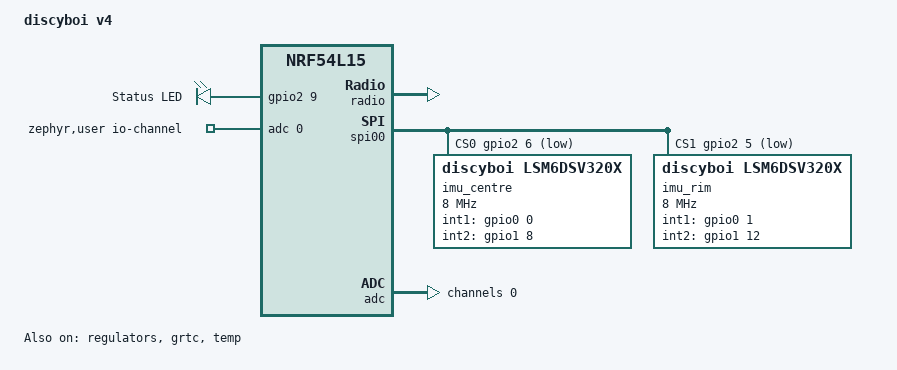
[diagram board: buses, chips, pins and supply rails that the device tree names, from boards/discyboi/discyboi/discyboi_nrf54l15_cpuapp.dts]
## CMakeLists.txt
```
cmake_minimum_required(VERSION 3.20.0)

# Board definition lives in this app (boards/discyboi).
list(APPEND BOARD_ROOT ${CMAKE_CURRENT_SOURCE_DIR})
list(APPEND DTS_ROOT ${CMAKE_CURRENT_SOURCE_DIR})

find_package(Zephyr REQUIRED HINTS $ENV{ZEPHYR_BASE})
project(discyboi)

target_sources(app PRIVATE
  src/main.c
  src/imu.c
  src/capture.c
  src/analysis.c
  src/calib.c
  src/ble.c
  src/battery.c
  src/led.c
)
```

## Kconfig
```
# discyboi application options

menu "discyboi"

choice DISCY_BATTERY
	prompt "Battery type (for the battery-level curve)"
	default DISCY_BATTERY_AUTO

config DISCY_BATTERY_AUTO
	bool "Detect: LiPo once VBAT has been above 3.45 V, otherwise coin cell"
	help
	  A CR2032 never reads above ~3.3 V, a LiPo above 3.45 V holds
	  almost all of its charge. The board switches to the LiPo curve
	  the first time VBAT is seen above the threshold and stays there.
	  A LiPo connected nearly flat reads as a coin cell until it has
	  been charged.

config DISCY_BATTERY_COIN
	bool "CR2032 / LIR2032 coin cell"

config DISCY_BATTERY_LIPO
	bool "1S LiPo"

endchoice

endmenu

source "Kconfig.zephyr"
```

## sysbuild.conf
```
# MCUboot in front of the app so new firmware can be sent over Bluetooth (mcumgr / SMP).
# The signing key is passed by build.sh (keys/discyboi-ec-p256.pem, not in git).
SB_CONFIG_BOOTLOADER_MCUBOOT=y
SB_CONFIG_BOOT_SIGNATURE_TYPE_ECDSA_P256=y
```

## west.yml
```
# West manifest: upstream Zephyr with only the modules this board needs.
manifest:
  remotes:
    - name: zephyrproject-rtos
      url-base: https://github.com/zephyrproject-rtos
  projects:
    - name: zephyr
      remote: zephyrproject-rtos
      revision: v4.0.0
      import:
        name-allowlist:
          - cmsis
          - hal_nordic
          - mcuboot
          - mbedtls
          - segger
          - tinycrypt
          - zcbor
  self:
    path: app
```

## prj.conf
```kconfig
CONFIG_SPI=y
CONFIG_ADC=y
CONFIG_FPU=y

CONFIG_LOG=y
CONFIG_LOG_BACKEND_RTT=y
CONFIG_CBPRINTF_FP_SUPPORT=y

CONFIG_MAIN_STACK_SIZE=2048
CONFIG_SYSTEM_WORKQUEUE_STACK_SIZE=2048

# Bluetooth peripheral
CONFIG_BT=y
CONFIG_BT_PERIPHERAL=y
CONFIG_BT_DEVICE_NAME="discyboi"
CONFIG_BT_DEVICE_APPEARANCE=0
CONFIG_BT_BAS=y
CONFIG_BT_MAX_CONN=1

# Large MTU + data length extension + 2M PHY for raw-capture download
CONFIG_BT_L2CAP_TX_MTU=247
CONFIG_BT_BUF_ACL_TX_SIZE=251
CONFIG_BT_BUF_ACL_RX_SIZE=251
CONFIG_BT_BUF_ACL_TX_COUNT=10
CONFIG_BT_CTLR_DATA_LENGTH_MAX=251
CONFIG_BT_USER_DATA_LEN_UPDATE=y
CONFIG_BT_USER_PHY_UPDATE=y
CONFIG_BT_GAP_AUTO_UPDATE_CONN_PARAMS=y
CONFIG_BT_PERIPHERAL_PREF_MIN_INT=12
CONFIG_BT_PERIPHERAL_PREF_MAX_INT=24

# Firmware updates over Bluetooth: MCUboot + mcumgr SMP service. Use nRF Connect Device
# Manager (phone) or `mcumgr` (PC). New images run once as a test; main() confirms them
# after a good boot, otherwise MCUboot rolls back on the next reset.
CONFIG_FLASH=y
CONFIG_FLASH_MAP=y
CONFIG_STREAM_FLASH=y
CONFIG_IMG_MANAGER=y
CONFIG_MCUBOOT_IMG_MANAGER=y
CONFIG_NET_BUF=y
CONFIG_ZCBOR=y
CONFIG_MCUMGR=y
CONFIG_MCUMGR_GRP_IMG=y
CONFIG_MCUMGR_GRP_OS=y
CONFIG_MCUMGR_TRANSPORT_BT=y
CONFIG_MCUMGR_TRANSPORT_BT_REASSEMBLY=y
CONFIG_MCUMGR_TRANSPORT_NETBUF_SIZE=2475
CONFIG_MCUMGR_TRANSPORT_WORKQUEUE_STACK_SIZE=4096

# Per-board calibration (gyro cross-axis coupling learned from throws) in the storage partition
CONFIG_FLASH_PAGE_LAYOUT=y
CONFIG_ZMS=y
CONFIG_HWINFO=y
```

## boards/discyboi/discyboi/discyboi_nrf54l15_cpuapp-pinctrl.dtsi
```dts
&pinctrl {
	/* SPIM00 must use its dedicated port-2 pins. */
	spi00_default: spi00_default {
		group1 {
			psels = <NRF_PSEL(SPIM_SCK, 2, 1)>,    /* C6 */
				<NRF_PSEL(SPIM_MOSI, 2, 2)>,   /* D6 */
				<NRF_PSEL(SPIM_MISO, 2, 4)>;   /* F5 */
		};
	};

	spi00_sleep: spi00_sleep {
		group1 {
			psels = <NRF_PSEL(SPIM_SCK, 2, 1)>,
				<NRF_PSEL(SPIM_MOSI, 2, 2)>,
				<NRF_PSEL(SPIM_MISO, 2, 4)>;
			low-power-enable;
		};
	};
};
```

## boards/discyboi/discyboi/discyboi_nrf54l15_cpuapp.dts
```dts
/*
 * discyboi v4: Fanstel BC15M (nRF54L15) + 2x LSM6DSV320X on SPIM00.
 * Pin assignments follow hardware v4 gen/design.py (see ../../../../../v4/README.md).
 */
/dts-v1/;

#include <nordic/nrf54l15_cpuapp.dtsi>
#include <zephyr/dt-bindings/adc/nrf-saadc.h>
#include "discyboi_nrf54l15_cpuapp-pinctrl.dtsi"

/ {
	model = "discyboi v4";
	compatible = "discyboi,discyboi-nrf54l15-cpuapp";

	chosen {
		zephyr,code-partition = &slot0_partition;
		zephyr,sram = &cpuapp_sram;
		zephyr,flash-controller = &rram_controller;
		zephyr,flash = &cpuapp_rram;
	};

	leds {
		compatible = "gpio-leds";
		led_green: led_0 {
			gpios = <&gpio2 9 GPIO_ACTIVE_HIGH>;  /* A5 / P2.09 -> R5 -> D1 */
			label = "Status LED";
		};
	};

	aliases {
		led0 = &led_green;
	};

	zephyr,user {
		/* VBAT through a 10M/10M divider (+100 nF) -> P1.06 / AIN2 */
		io-channels = <&adc 0>;
	};
};

&cpuapp_sram {
	status = "okay";
};

/* TODO(bring-up): check whether the BC15M fits the DC/DC inductor. Without it the
 * main regulator must stay in LDO mode (the default here). */
&regulators {
	status = "okay";
};

&grtc {
	owned-channels = <0 1 2 3 4 5 6 7 8 9 10 11>;
	child-owned-channels = <3 4 7 8 9 10 11>;
	status = "okay";
};

&cpuapp_rram {
	partitions {
		compatible = "fixed-partitions";
		#address-cells = <1>;
		#size-cells = <1>;
		/* Same layout as the nRF54L15 DK, leaving room for MCUboot + BLE DFU later. */
		boot_partition: partition@0 {
			label = "mcuboot";
			reg = <0x0 DT_SIZE_K(64)>;
		};
		slot0_partition: partition@10000 {
			label = "image-0";
			reg = <0x10000 DT_SIZE_K(648)>;
		};
		slot1_partition: partition@b2000 {
			label = "image-1";
			reg = <0xb2000 DT_SIZE_K(648)>;
		};
		storage_partition: partition@154000 {
			label = "storage";
			reg = <0x154000 DT_SIZE_K(68)>;
		};
	};
};

&gpio0 { status = "okay"; };
&gpio1 { status = "okay"; };
&gpio2 { status = "okay"; };
&gpiote20 { status = "okay"; };   /* P1 interrupts */
&gpiote30 { status = "okay"; };   /* P0 interrupts */
&radio { status = "okay"; };
&temp { status = "okay"; };
&clock { status = "okay"; };

&spi00 {
	status = "okay";
	pinctrl-0 = <&spi00_default>;
	pinctrl-1 = <&spi00_sleep>;
	pinctrl-names = "default", "sleep";
	cs-gpios = <&gpio2 6 GPIO_ACTIVE_LOW>,   /* F2 / P2.06 IMU_CS (U5, centre) */
		   <&gpio2 5 GPIO_ACTIVE_LOW>;   /* A6 / P2.05 ACC_CS (U3, r = 9 mm) */

	imu_centre: imu@0 {
		compatible = "discyboi,lsm6dsv320x";
		reg = <0>;
		spi-max-frequency = <8000000>;
		int1-gpios = <&gpio0 0 GPIO_ACTIVE_HIGH>;   /* A2 / P0.00 */
		int2-gpios = <&gpio1 8 GPIO_ACTIVE_HIGH>;   /* B1 / P1.08 */
		radius-um = <0>;
	};

	imu_rim: imu@1 {
		compatible = "discyboi,lsm6dsv320x";
		reg = <1>;
		spi-max-frequency = <8000000>;
		int1-gpios = <&gpio0 1 GPIO_ACTIVE_HIGH>;   /* A1 / P0.01 */
		int2-gpios = <&gpio1 12 GPIO_ACTIVE_HIGH>;  /* D1 / P1.12 */
		radius-um = <9000>;
	};
};

&adc {
	status = "okay";
	#address-cells = <1>;
	#size-cells = <0>;

	channel@0 {
		reg = <0>;
		zephyr,gain = "ADC_GAIN_1_4";
		zephyr,reference = "ADC_REF_INTERNAL";
		zephyr,acquisition-time = <ADC_ACQ_TIME(ADC_ACQ_TIME_MICROSECONDS, 40)>;
		zephyr,input-positive = <NRF_SAADC_AIN2>;  /* P1.06 */
		zephyr,resolution = <12>;
		zephyr,oversampling = <4>;
	};
};
```

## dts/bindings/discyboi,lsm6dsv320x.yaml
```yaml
description: |
  ST LSM6DSV320X 6-axis IMU with high-g accelerometer, driven directly by the
  discyboi application (not a Zephyr sensor driver).

compatible: "discyboi,lsm6dsv320x"

include: spi-device.yaml

properties:
  int1-gpios:
    type: phandle-array
    required: true
  int2-gpios:
    type: phandle-array
  radius-um:
    type: int
    required: true
    description: Distance from the disc's spin axis in micrometres.
```

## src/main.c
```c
#include <zephyr/kernel.h>
#include <zephyr/logging/log.h>
#include <zephyr/dfu/mcuboot.h>

#include "discy.h"

LOG_MODULE_REGISTER(main, LOG_LEVEL_INF);

int main(void)
{
	int err;

	LOG_INF("discyboi firmware %s", discy_fw_version);
	if ((err = led_init())) {
		LOG_ERR("LED init failed (%d)", err);
	}
	if ((err = battery_init())) {
		LOG_ERR("battery init failed (%d)", err);
	}
	if ((err = ble_init())) {
		LOG_ERR("Bluetooth init failed (%d)", err);
	}
	err = capture_start();
	/* 3 blinks: all good. 10 fast blinks: an IMU did not respond (see RTT log). */
	led_blink(err ? 10 : 3);

	/* A Bluetooth update boots once as a test. Keep it only if both IMUs came up; otherwise
	 * the next reset (or flat battery) brings back the previous firmware. */
	if (!boot_is_img_confirmed()) {
		if (err) {
			LOG_WRN("new firmware failed its first boot check: not confirming");
		} else if (boot_write_img_confirmed()) {
			LOG_ERR("could not confirm new firmware");
		} else {
			LOG_INF("new firmware confirmed");
		}
	}
	return 0;
}
```

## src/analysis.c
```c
/*
 * Throw analysis on a frozen capture. Preliminary and deliberately simple:
 *
 * 1. Find the calm stretch before the pull: from the first to the last 100 ms window with
 *    |a| ~ 1 g and little rotation. The accelerometer averaged over it, with the gyro tracking
 *    the rotation, defines "up" (see find_ref). If nothing is calm, the calmest 100 ms is used
 *    and the result is flagged as approximate.
 * 2. Integrate the gyro to release to track orientation (when the gyro saturates on z, the
 *    spin rate comes from the rim/centre centripetal difference instead).
 * 3. From the end of the calm stretch, rotate the centre accelerometer into the world frame,
 *    remove gravity and integrate to get the release velocity.
 * 4. At release: disc normal + velocity -> hyzer, nose and launch angles.
 *
 * Heading about the vertical axis is unknown (no magnetometer) but is not needed: all angles
 * are relative to the velocity direction. Integration drift over the ~1-2 s window is the main
 * error source; raw captures can be downloaded to refine this offline.
 */
#include <math.h>
#include <stdlib.h>
#include <string.h>
#include <zephyr/logging/log.h>

#include "discy.h"

LOG_MODULE_REGISTER(analysis, LOG_LEVEL_INF);

#define G0           9.80665f
#define DEG          (180.0f / 3.14159265f)
#define DT           (1.0f / IMU_ACTIVE_HZ)
#define STILL_N      (IMU_ACTIVE_HZ / 10)  /* 100 ms */
#define STILL_MAX_DPS 40.0f
#define SPIN_AVG_N   (IMU_ACTIVE_HZ / 50)  /* 20 ms after release */

struct quat {
	float w, x, y, z;
};

static struct quat qmul(struct quat a, struct quat b)
{
	return (struct quat){
		a.w * b.w - a.x * b.x - a.y * b.y - a.z * b.z,
		a.w * b.x + a.x * b.w + a.y * b.z - a.z * b.y,
		a.w * b.y - a.x * b.z + a.y * b.w + a.z * b.x,
		a.w * b.z + a.x * b.y - a.y * b.x + a.z * b.w,
	};
}

static void qnorm(struct quat *q)
{
	float n = sqrtf(q->w * q->w + q->x * q->x + q->y * q->y + q->z * q->z);

	q->w /= n; q->x /= n; q->y /= n; q->z /= n;
}

/* Rotate v from the sensor frame to the world frame: q v q* */
static void qrot(struct quat q, const float v[3], float out[3])
{
	struct quat p = {0, v[0], v[1], v[2]};
	struct quat c = {q.w, -q.x, -q.y, -q.z};
	struct quat r = qmul(qmul(q, p), c);

	out[0] = r.x; out[1] = r.y; out[2] = r.z;
}

/* Rotation taking unit vector a onto +z. */
static struct quat q_align_to_z(const float a[3])
{
	/* axis = a x z, angle = acos(a . z) */
	float ax = a[1], ay = -a[0];
	float c = a[2];
	float s = sqrtf(ax * ax + ay * ay);

	if (s < 1e-6f) {
		return c > 0 ? (struct quat){1, 0, 0, 0} : (struct quat){0, 1, 0, 0};
	}
	float ang = atan2f(s, c);
	float h = sinf(ang / 2) / s;

	return (struct quat){cosf(ang / 2), ax * h, ay * h, 0};
}

static float dot3(const float a[3], const float b[3])
{
	return a[0] * b[0] + a[1] * b[1] + a[2] * b[2];
}

void sample_centre_acc_g(const struct sample *s, float out[3])
{
	bool clip = false;

	for (int i = 0; i < 3; i++) {
		clip |= abs(s->acc[i]) > IMU_ACC_CLIP_LSB;
	}
	for (int i = 0; i < 3; i++) {
		out[i] = clip ? s->hg[i] * IMU_HG_G_PER_LSB : s->acc[i] * IMU_ACC_G_PER_LSB;
	}
}

static void rim_acc_g(const struct sample *s, float out[3])
{
	bool clip = false;

	for (int i = 0; i < 3; i++) {
		clip |= abs(s->r_acc[i]) > IMU_ACC_CLIP_LSB;
	}
	for (int i = 0; i < 3; i++) {
		out[i] = clip ? s->r_hg[i] * IMU_HG_G_PER_LSB : s->r_acc[i] * IMU_ACC_G_PER_LSB;
	}
}

float sample_spin_dps(const struct sample *s, float rim_radius_m, bool *centrip)
{
	float gz = s->gyro[2] * IMU_GYRO_DPS_PER_LSB;

	if (centrip) {
		*centrip = false;
	}
	if (fabsf(gz) < 3900.0f || rim_radius_m <= 0.0f) {
		return gz;
	}
	/* Gyro saturated (>= ~650 rpm). The rim IMU sees centripetal a = w^2 r towards the centre,
	 * on top of whatever the centre IMU sees, so the in-plane difference gives |w|. */
	float c[3], r[3];

	sample_centre_acc_g(s, c);
	rim_acc_g(s, r);
	float d = hypotf(r[0] - c[0], r[1] - c[1]) * 9.80665f;
	float w = sqrtf(d / rim_radius_m) * (180.0f / 3.14159265f);

	if (centrip) {
		*centrip = true;
	}
	return copysignf(w, gz);
}

/* Reference for "up" and for zero velocity, taken before the pull.
 *
 * A single short window is a poor gravity reference unless the disc is truly at rest: the hand
 * is accelerating, and 0.1 g sideways is already 6 degrees. So the reference is the whole span
 * from the first calm window to the last: with the gyro tracking the rotation, the specific
 * force averaged over a span of T seconds is 1 g up plus (change in velocity) / T, and the
 * hand's velocity changes little between two calm moments. Whatever happens in between (a
 * step, a wind-up) cancels out. Recorded throws put this within a few degrees, where single
 * windows 50 ms apart disagreed by 10-20 degrees.
 *
 * If nothing is that calm, the calmest 100 ms is the whole span and the result is flagged as
 * approximate. */
#define CALM_MAX_DG       0.15f   /* window mean |a| within this of 1 g */
#define CALM_MAX_RMS_DPS  100.0f
#define ROUGH_MAX_DG      0.25f   /* fallback */
#define ROUGH_MAX_RMS_DPS 300.0f
#define SPAN_MIN_N        (IMU_ACTIVE_HZ / 2)  /* shorter than this needs a truly still window */
#define SPAN_MAX_DG       0.06f                /* span mean must come out this close to 1 g */

struct ref_span {
	int from, to;   /* samples [from, to) */
	bool still;     /* contains a window with next to no rotation */
	bool rough;     /* fallback: one window that is merely the calmest */
};

static bool find_ref(const struct capture_view *cap, struct ref_span *ref)
{
	int first = -1, last = -1, rough = -1;
	float rough_score = 1e9f;

	ref->still = false;
	for (int start = 0; start + STILL_N <= cap->pull_idx; start += STILL_N / 4) {
		float sum_g = 0, sum_g2 = 0, max_dps = 0, sum_w2 = 0;

		for (int i = start; i < start + STILL_N; i++) {
			const struct sample *s = capture_get(i);
			float a[3];

			sample_centre_acc_g(s, a);
			float g = sqrtf(dot3(a, a));

			for (int k = 0; k < 3; k++) {
				float w = s->gyro[k] * IMU_GYRO_DPS_PER_LSB;

				max_dps = MAX(max_dps, fabsf(w));
				sum_w2 += w * w;
			}
			sum_g += g;
			sum_g2 += g * g;
		}
		float mean_g = sum_g / STILL_N;
		float dg = fabsf(mean_g - 1.0f);
		float var = sum_g2 / STILL_N - mean_g * mean_g;
		float rms_dps = sqrtf(sum_w2 / STILL_N);

		if (dg < CALM_MAX_DG && rms_dps < CALM_MAX_RMS_DPS) {
			if (first < 0) {
				first = start;
			}
			last = start;
			ref->still |= max_dps < STILL_MAX_DPS;
		}
		/* Fallback candidate: steady, close to 1 g, little rotation, and late (less drift). */
		float late = (float)(cap->pull_idx - start) / IMU_ACTIVE_HZ * 0.001f;
		float score = var + dg * 0.5f + rms_dps * 0.001f + late;

		if (dg < ROUGH_MAX_DG && rms_dps < ROUGH_MAX_RMS_DPS && score < rough_score) {
			rough_score = score;
			rough = start;
		}
	}
	ref->rough = first < 0;
	if (ref->rough) {
		first = last = rough;
	}
	if (first < 0) {
		return false;
	}
	ref->from = first;
	ref->to = last + STILL_N;
	return true;
}

/* q <- q * exp(w dt / 2), w in rad/s in the sensor frame */
static void q_step(struct quat *q, const float w[3])
{
	float th = sqrtf(dot3(w, w)) * DT;

	if (th > 1e-9f) {
		float h = sinf(th / 2) / (th / DT);
		struct quat dq = {cosf(th / 2), w[0] * h, w[1] * h, w[2] * h};

		*q = qmul(*q, dq);
		qnorm(q);
	}
}

/* Body rates in dps with the gyro's cross-axis coupling removed: the x and y axes pick up a
 * fixed fraction (~1 % on the first board) of the spin rate, which otherwise reads as a ~1 deg
 * tilt that turns with the disc: fake wobble, and hyzer / nose off by up to that much. */
static void sample_rates_dps(const struct capture_view *cap, const struct sample *s, float w[3])
{
	w[2] = sample_spin_dps(s, cap->rim_radius_m, NULL);
	w[0] = s->gyro[0] * IMU_GYRO_DPS_PER_LSB - cap->gyro_xz[0] * w[2];
	w[1] = s->gyro[1] * IMU_GYRO_DPS_PER_LSB - cap->gyro_xz[1] * w[2];
}

static void sample_rate_rad(const struct capture_view *cap, const struct sample *s, float w[3])
{
	sample_rates_dps(cap, s, w);
	for (int k = 0; k < 3; k++) {
		w[k] /= DEG;
	}
}

/* Solve the 4x4 system m x = y in place (Gaussian elimination, partial pivoting). */
static bool solve4(float m[4][4], float y[4], float x[4])
{
	for (int c = 0; c < 4; c++) {
		int p = c;

		for (int r = c + 1; r < 4; r++) {
			if (fabsf(m[r][c]) > fabsf(m[p][c])) {
				p = r;
			}
		}
		if (fabsf(m[p][c]) < 1e-9f) {
			return false;
		}
		for (int k = 0; k < 4; k++) {
			float t = m[c][k];

			m[c][k] = m[p][k];
			m[p][k] = t;
		}
		float t = y[c];

		y[c] = y[p];
		y[p] = t;
		for (int r = c + 1; r < 4; r++) {
			float f = m[r][c] / m[c][c];

			for (int k = c; k < 4; k++) {
				m[r][k] -= f * m[c][k];
			}
			y[r] -= f * y[c];
		}
	}
	for (int c = 3; c >= 0; c--) {
		float acc = y[c];

		for (int k = c + 1; k < 4; k++) {
			acc -= m[c][k] * x[k];
		}
		x[c] = acc / m[c][c];
	}
	return true;
}

#define XZ_IMPACT_G   6.0f   /* the free spin ends at the first hit (net, ground) */
#define XZ_MIN_TURNS  0.9f
#define XZ_MAX        0.05f  /* 3 deg: anything bigger is not a gyro property */

bool analysis_gyro_xz(const struct capture_view *cap, float k[2])
{
	/* After release the disc spins freely: in the board frame the gyro's x, y read
	 *   g_xy = k * w_z  (coupling: fixed in the board frame)
	 *        + R(-phi) m (nutation, precession: fixed in the world, so they turn with the spin)
	 * Fit k and m by least squares, with phi the spin angle. Real mount tilt looks like k too,
	 * but on the first board it is a few tenths of a degree, and removing it makes the tracked
	 * z follow the spin axis, which is the disc normal we want anyway. */
	float m[4][4] = {0}, y[4] = {0}, x[4];
	float phi = 0;
	int end = cap->len;

	for (int i = cap->release_idx + SPIN_AVG_N; i < cap->len; i++) {
		float a[3];

		sample_centre_acc_g(capture_get(i), a);
		if (dot3(a, a) > XZ_IMPACT_G * XZ_IMPACT_G) {
			end = i - IMU_ACTIVE_HZ / 200; /* back off 5 ms */
			break;
		}
	}
	for (int i = cap->release_idx + SPIN_AVG_N; i < end; i++) {
		const struct sample *s = capture_get(i);
		float wz = sample_spin_dps(s, cap->rim_radius_m, NULL) / DEG;
		float gx = s->gyro[0] * IMU_GYRO_DPS_PER_LSB / DEG, gy = s->gyro[1] * IMU_GYRO_DPS_PER_LSB / DEG;

		phi += wz * DT;
		float c = cosf(phi), sn = sinf(phi);
		/* rows: gx = wz kx + c mx + s my ;  gy = wz ky - s mx + c my */
		const float rx[4] = {wz, 0, c, sn}, ry[4] = {0, wz, -sn, c};

		for (int r = 0; r < 4; r++) {
			for (int q = 0; q < 4; q++) {
				m[r][q] += rx[r] * rx[q] + ry[r] * ry[q];
			}
			y[r] += rx[r] * gx + ry[r] * gy;
		}
	}
	if (fabsf(phi) < XZ_MIN_TURNS * 2 * 3.14159265f || !solve4(m, y, x)) {
		return false;
	}
	if (fabsf(x[0]) > XZ_MAX || fabsf(x[1]) > XZ_MAX) {
		return false;
	}
	k[0] = x[0];
	k[1] = x[1];
	return true;
}

#define XZ_LEARN_N    16      /* plain mean up to here, then a moving average over ~this many */
#define XZ_LEARN_GATE 0.02f   /* once settled, ignore throws more than ~1.1 deg off */

void xz_learn_add(struct xz_learn *l, const float k[2])
{
	if (l->n >= XZ_LEARN_MIN && hypotf(k[0] - l->k[0], k[1] - l->k[1]) > XZ_LEARN_GATE) {
		return;
	}
	if (l->n < XZ_LEARN_N) {
		l->n++;
	}
	for (int i = 0; i < 2; i++) {
		l->k[i] += (k[i] - l->k[i]) / l->n;
	}
}

bool xz_learn_ready(const struct xz_learn *l)
{
	return l->n >= XZ_LEARN_MIN;
}

void analysis_run(const struct capture_view *cap, struct throw_result *out)
{
	/* Spin rate just after release. */
	float spin = 0;
	int n_spin = 0;
	bool centrip = false;

	for (int i = cap->release_idx; i < MIN(cap->len, cap->release_idx + SPIN_AVG_N); i++) {
		bool c;

		spin += sample_spin_dps(capture_get(i), cap->rim_radius_m, &c);
		centrip |= c;
		n_spin++;
	}
	if (n_spin) {
		out->spin_rpm = (int16_t)CLAMP(spin / n_spin / 6.0f, INT16_MIN, INT16_MAX);
	}
	if (centrip) {
		out->flags |= RESULT_SPIN_CENTRIP;
	}

	/* Wobble: RMS of the off-axis rotation rate after the release transient. */
	float w2 = 0;
	int n_w = 0;

	for (int i = cap->release_idx + SPIN_AVG_N; i < cap->len; i++) {
		float w[3];

		sample_rates_dps(cap, capture_get(i), w);
		w2 += w[0] * w[0] + w[1] * w[1];
		n_w++;
	}
	if (n_w) {
		out->wobble_dps = (uint16_t)sqrtf(w2 / n_w);
	}

	/* Orientation + velocity from the reference span. */
	struct ref_span ref;

	if (!find_ref(cap, &ref)) {
		LOG_WRN("nothing calm enough before the throw: no speed / angles");
		out->flags |= RESULT_NO_REF;
		return;
	}

	/* Track orientation through the span in the frame of its first sample, averaging the
	 * specific force there: the mean points up. */
	struct quat q = {1, 0, 0, 0};
	float sum[3] = {0};

	for (int i = ref.from; i < ref.to; i++) {
		const struct sample *s = capture_get(i);
		float a[3], aw[3], w[3];

		sample_centre_acc_g(s, a);
		qrot(q, a, aw);
		for (int k = 0; k < 3; k++) {
			sum[k] += aw[k];
		}
		sample_rate_rad(cap, s, w);
		q_step(&q, w);
	}
	float mag = sqrtf(dot3(sum, sum));
	float mean_g = mag / (ref.to - ref.from);
	float up_s[3] = {sum[0] / mag, sum[1] / mag, sum[2] / mag};

	if (ref.rough || (!ref.still && ref.to - ref.from < SPAN_MIN_N) ||
	    fabsf(mean_g - 1.0f) > SPAN_MAX_DG) {
		LOG_INF("weak reference before the throw (%d ms, mean %.2f g): approximate",
			(ref.to - ref.from) * 1000 / IMU_ACTIVE_HZ, (double)mean_g);
		out->flags |= RESULT_REF_APPROX;
	}
	/* Re-base so that world z is up, then carry on to the release. */
	q = qmul(q_align_to_z(up_s), q);

	float v[3] = {0};

	for (int i = ref.to; i < cap->release_idx; i++) {
		const struct sample *s = capture_get(i);
		float a[3], aw[3], w[3];

		/* velocity: specific force -> world, minus gravity */
		sample_centre_acc_g(s, a);
		qrot(q, a, aw);
		aw[2] -= 1.0f;
		for (int k = 0; k < 3; k++) {
			v[k] += aw[k] * G0 * DT;
		}
		sample_rate_rad(cap, s, w);
		q_step(&q, w);
	}

	float speed = sqrtf(dot3(v, v));
	float vh = hypotf(v[0], v[1]);

	if (speed > 60.0f || vh < 0.5f) {
		LOG_WRN("implausible release velocity %.1f m/s", (double)speed);
		out->flags |= RESULT_BAD_SPEED;
		return;
	}
	out->speed_cms = (uint16_t)(speed * 100.0f);
	out->flags |= RESULT_SPEED_VALID;

	const float up[3] = {0, 0, 1};
	const float z_s[3] = {0, 0, 1};
	float n[3];
	float f[3] = {v[0] / vh, v[1] / vh, 0};          /* forward, horizontal */
	float r[3] = {f[1], -f[0], 0};                   /* right = forward x up */

	qrot(q, z_s, n);                                 /* disc normal in the world frame */
	/* Board z may point down if the disc is mounted upside down: use the upward normal. */
	if (n[2] < 0) {
		for (int k = 0; k < 3; k++) {
			n[k] = -n[k];
		}
	}
	out->hyzer_cdeg = (int16_t)(atan2f(dot3(n, r), dot3(n, up)) * DEG * 100.0f);
	out->nose_cdeg = (int16_t)(atan2f(-dot3(n, f), dot3(n, up)) * DEG * 100.0f);
	out->launch_cdeg = (int16_t)(atan2f(v[2], vh) * DEG * 100.0f);
	out->flags |= RESULT_ANGLES_VALID;
}
```

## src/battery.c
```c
/* Battery voltage: VBAT -> 10M/10M divider (+100 nF) -> AIN2, sampled once a minute.
 * The 100 nF cap holds the divider node so the ADC's sampling charge comes from it. */
#include <zephyr/bluetooth/services/bas.h>
#include <zephyr/drivers/adc.h>
#include <zephyr/kernel.h>
#include <zephyr/logging/log.h>

#include "discy.h"

LOG_MODULE_REGISTER(battery, LOG_LEVEL_INF);

#define DIVIDER        2
#define PERIOD         K_SECONDS(60)

static const struct adc_dt_spec vbat = ADC_DT_SPEC_GET_BY_IDX(DT_PATH(zephyr_user), 0);
static uint16_t last_mv;

/* CR2032 (or LIR2032 under ~2 mA): the voltage sits on a 2.8-2.9 V plateau for most of the
 * capacity, then falls off. The electronics run down to ~1.8 V, so 2.0 V is "empty". */
static const struct curve_pt { uint16_t mv; uint8_t pct; } coin_curve[] = {
	{3000, 100}, {2900, 85}, {2800, 60}, {2700, 40}, {2600, 25},
	{2500, 15}, {2400, 8}, {2200, 3}, {2000, 0},
};

/* Rough 1S LiPo discharge curve at light load. */
static const struct curve_pt lipo_curve[] = {
	{4200, 100}, {4100, 90}, {4000, 80}, {3900, 65}, {3800, 50},
	{3750, 40}, {3700, 30}, {3650, 20}, {3600, 10}, {3500, 5}, {3300, 0},
};

/* A CR2032 never reads above ~3.3 V; a LiPo is above this for nearly all of its charge. */
#define LIPO_DETECT_MV 3450

static bool is_lipo = IS_ENABLED(CONFIG_DISCY_BATTERY_LIPO);

static uint8_t interp(const struct curve_pt *c, size_t n, uint16_t mv)
{
	if (mv >= c[0].mv) {
		return 100;
	}
	for (size_t i = 1; i < n; i++) {
		if (mv >= c[i].mv) {
			return c[i].pct + (mv - c[i].mv) * (c[i - 1].pct - c[i].pct) / (c[i - 1].mv - c[i].mv);
		}
	}
	return 0;
}

static uint8_t mv_to_pct(uint16_t mv)
{
	if (IS_ENABLED(CONFIG_DISCY_BATTERY_AUTO) && !is_lipo && mv > LIPO_DETECT_MV) {
		is_lipo = true;
		LOG_INF("VBAT %u mV: LiPo detected", mv);
	}
	return is_lipo ? interp(lipo_curve, ARRAY_SIZE(lipo_curve), mv)
		       : interp(coin_curve, ARRAY_SIZE(coin_curve), mv);
}

uint16_t battery_mv(void)
{
	return last_mv;
}

static int measure(void)
{
	int16_t raw;
	struct adc_sequence seq = {.buffer = &raw, .buffer_size = sizeof(raw)};
	int err = adc_sequence_init_dt(&vbat, &seq);

	err = err ?: adc_read_dt(&vbat, &seq);
	if (err) {
		return err;
	}
	int32_t mv = raw;

	err = adc_raw_to_millivolts_dt(&vbat, &mv);
	if (err) {
		return err;
	}
	last_mv = (uint16_t)CLAMP(mv * DIVIDER, 0, UINT16_MAX);
	bt_bas_set_battery_level(mv_to_pct(last_mv));
	return 0;
}

static void battery_work_handler(struct k_work *work);
static K_WORK_DELAYABLE_DEFINE(battery_work, battery_work_handler);

static void battery_work_handler(struct k_work *work)
{
	int err = measure();

	if (err) {
		LOG_WRN("VBAT read failed (%d)", err);
	}
	k_work_schedule(&battery_work, PERIOD);
}

int battery_init(void)
{
	if (!adc_is_ready_dt(&vbat)) {
		return -ENODEV;
	}
	int err = adc_channel_setup_dt(&vbat);

	if (err) {
		return err;
	}
	measure();
	LOG_INF("battery %u mV (%u%%)", last_mv, mv_to_pct(last_mv));
	k_work_schedule(&battery_work, PERIOD);
	return 0;
}
```

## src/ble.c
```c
/*
 * BLE: Battery Service + the discyboi service.
 *
 * discyboi service  6d2b0001-5f3c-4b8a-9e0d-d15cb0100000
 *   Throw   ...0002  read, notify   struct throw_result (26 bytes), the latest throw
 *   Status  ...0003  read, notify   struct status (8 bytes)
 *   Control ...0004  write          1 byte opcode (see enum ctrl_op)
 *   Data    ...0005  notify         raw capture download (see send_capture())
 *   Info    ...0006  read           firmware version string, "0.2.0+<git commit>"
 */
#include <app_version.h>
#include <zephyr/bluetooth/bluetooth.h>
#include <zephyr/bluetooth/conn.h>
#include <zephyr/bluetooth/gatt.h>
#include <zephyr/bluetooth/uuid.h>
#include <zephyr/kernel.h>
#include <zephyr/logging/log.h>
#include <zephyr/sys/byteorder.h>

#include <zephyr/drivers/hwinfo.h>

#include "discy.h"

LOG_MODULE_REGISTER(ble, LOG_LEVEL_INF);

#define UUID_DISCY(n) BT_UUID_128_ENCODE(0x6d2b0000 + (n), 0x5f3c, 0x4b8a, 0x9e0d, 0xd15cb0100000)

static const struct bt_uuid_128 uuid_svc = BT_UUID_INIT_128(UUID_DISCY(1));
static const struct bt_uuid_128 uuid_throw = BT_UUID_INIT_128(UUID_DISCY(2));
static const struct bt_uuid_128 uuid_status = BT_UUID_INIT_128(UUID_DISCY(3));
static const struct bt_uuid_128 uuid_ctrl = BT_UUID_INIT_128(UUID_DISCY(4));
static const struct bt_uuid_128 uuid_data = BT_UUID_INIT_128(UUID_DISCY(5));
static const struct bt_uuid_128 uuid_info = BT_UUID_INIT_128(UUID_DISCY(6));
static const struct bt_uuid_128 uuid_board = BT_UUID_INIT_128(UUID_DISCY(7));

/* build.sh writes build_id.h with the git commit the image was built from. */
#if __has_include("build_id.h")
#include "build_id.h"
#else
#define DISCY_BUILD_ID "local"
#endif
const char discy_fw_version[] = APP_VERSION_STRING "+" DISCY_BUILD_ID;

static ssize_t read_info(struct bt_conn *conn, const struct bt_gatt_attr *attr, void *buf,
			 uint16_t len, uint16_t offset)
{
	return bt_gatt_attr_read(conn, attr, buf, len, offset, discy_fw_version,
				 sizeof(discy_fw_version) - 1);
}

/* The chip's factory-unique ID (8 bytes), so the lab can tell boards apart. The lab hashes it
 * before it goes anywhere. */
static ssize_t read_board_id(struct bt_conn *conn, const struct bt_gatt_attr *attr, void *buf,
			     uint16_t len, uint16_t offset)
{
	uint8_t id[8] = {0};
	ssize_t n = hwinfo_get_device_id(id, sizeof(id));

	if (n < 0) {
		n = 0;
	}
	return bt_gatt_attr_read(conn, attr, buf, len, offset, id, (uint16_t)n);
}

enum ctrl_op {
	CTRL_DOWNLOAD = 0x01,  /* send the last capture on Data */
	CTRL_ABORT = 0x02,     /* stop a running download */
	CTRL_IDENTIFY = 0x10,  /* blink the LED */
};

/* Data characteristic packets. All little-endian. */
enum data_type {
	DATA_HEADER = 0x00,
	DATA_SAMPLES = 0x01,
	DATA_END = 0x02,
};

struct data_header {
	uint8_t type;           /* DATA_HEADER */
	uint8_t version;        /* 1 */
	uint16_t sample_size;   /* bytes per sample (30) */
	uint32_t throw_id;
	uint16_t len;           /* number of samples */
	uint16_t pull_idx;
	uint16_t release_idx;
	uint16_t odr_hz;
	uint32_t rim_radius_um;
	float gyro_dps_per_lsb;
	float acc_g_per_lsb;
	float hg_g_per_lsb;
} __packed;

/* DATA_SAMPLES: u8 type, u8 count, u16 first index, then count * struct sample.
 * DATA_END:     u8 type, u8 status (0 = complete, 1 = aborted), u16 samples sent. */

struct status {
	uint8_t state;          /* enum capture_state */
	uint8_t downloading;
	uint16_t battery_mv;
	uint32_t throws;
} __packed;

static struct throw_result last_result;
static struct bt_conn *current;
static bool downloading;
static atomic_t abort_dl;
static K_SEM_DEFINE(dl_sem, 0, 1);

static ssize_t read_throw(struct bt_conn *conn, const struct bt_gatt_attr *attr, void *buf,
			  uint16_t len, uint16_t offset)
{
	return bt_gatt_attr_read(conn, attr, buf, len, offset, &last_result, sizeof(last_result));
}

static void fill_status(struct status *s)
{
	*s = (struct status){
		.state = capture_state(),
		.downloading = downloading,
		.battery_mv = battery_mv(),
		.throws = capture_throw_count(),
	};
}

static ssize_t read_status(struct bt_conn *conn, const struct bt_gatt_attr *attr, void *buf,
			   uint16_t len, uint16_t offset)
{
	struct status s;

	fill_status(&s);
	return bt_gatt_attr_read(conn, attr, buf, len, offset, &s, sizeof(s));
}

static ssize_t write_ctrl(struct bt_conn *conn, const struct bt_gatt_attr *attr, const void *buf,
			  uint16_t len, uint16_t offset, uint8_t flags)
{
	if (offset != 0 || len < 1) {
		return BT_GATT_ERR(BT_ATT_ERR_INVALID_ATTRIBUTE_LEN);
	}
	switch (((const uint8_t *)buf)[0]) {
	case CTRL_DOWNLOAD:
		if (downloading) {
			return BT_GATT_ERR(BT_ATT_ERR_PROCEDURE_IN_PROGRESS);
		}
		atomic_set(&abort_dl, 0);
		k_sem_give(&dl_sem);
		break;
	case CTRL_ABORT:
		atomic_set(&abort_dl, 1);
		break;
	case CTRL_IDENTIFY:
		led_blink(5);
		break;
	default:
		return BT_GATT_ERR(BT_ATT_ERR_NOT_SUPPORTED);
	}
	return len;
}

BT_GATT_SERVICE_DEFINE(discy_svc,
	BT_GATT_PRIMARY_SERVICE(&uuid_svc),
	BT_GATT_CHARACTERISTIC(&uuid_throw.uuid, BT_GATT_CHRC_READ | BT_GATT_CHRC_NOTIFY,
			       BT_GATT_PERM_READ, read_throw, NULL, NULL),
	BT_GATT_CCC(NULL, BT_GATT_PERM_READ | BT_GATT_PERM_WRITE),
	BT_GATT_CHARACTERISTIC(&uuid_status.uuid, BT_GATT_CHRC_READ | BT_GATT_CHRC_NOTIFY,
			       BT_GATT_PERM_READ, read_status, NULL, NULL),
	BT_GATT_CCC(NULL, BT_GATT_PERM_READ | BT_GATT_PERM_WRITE),
	BT_GATT_CHARACTERISTIC(&uuid_ctrl.uuid, BT_GATT_CHRC_WRITE | BT_GATT_CHRC_WRITE_WITHOUT_RESP,
			       BT_GATT_PERM_WRITE, NULL, write_ctrl, NULL),
	BT_GATT_CHARACTERISTIC(&uuid_data.uuid, BT_GATT_CHRC_NOTIFY, BT_GATT_PERM_NONE, NULL, NULL,
			       NULL),
	BT_GATT_CCC(NULL, BT_GATT_PERM_READ | BT_GATT_PERM_WRITE),
	/* New characteristics go at the end: the ATTR_ indices below must not move. */
	BT_GATT_CHARACTERISTIC(&uuid_info.uuid, BT_GATT_CHRC_READ, BT_GATT_PERM_READ, read_info, NULL,
			       NULL),
	BT_GATT_CHARACTERISTIC(&uuid_board.uuid, BT_GATT_CHRC_READ, BT_GATT_PERM_READ, read_board_id,
			       NULL, NULL),
);

/* Attribute indices in discy_svc.attrs */
#define ATTR_THROW  2
#define ATTR_STATUS 5
#define ATTR_DATA   10

void ble_publish_result(const struct throw_result *r)
{
	last_result = *r;
	if (current) {
		bt_gatt_notify(current, &discy_svc.attrs[ATTR_THROW], r, sizeof(*r));
	}
}

void ble_publish_status(void)
{
	struct status s;

	if (!current) {
		return;
	}
	fill_status(&s);
	bt_gatt_notify(current, &discy_svc.attrs[ATTR_STATUS], &s, sizeof(s));
}

/* Notify, waiting for TX buffers instead of dropping packets. */
static int notify_data(struct bt_conn *conn, const void *data, uint16_t len)
{
	while (true) {
		int err = bt_gatt_notify(conn, &discy_svc.attrs[ATTR_DATA], data, len);

		if (err != -ENOMEM) {
			return err;
		}
		k_msleep(2);
	}
}

static void send_capture(struct bt_conn *conn)
{
	struct capture_view cap;
	uint8_t pkt[244];
	uint16_t sent = 0;
	int err;

	if (!bt_gatt_is_subscribed(conn, &discy_svc.attrs[ATTR_DATA], BT_GATT_CCC_NOTIFY)) {
		LOG_WRN("download requested without subscribing to Data");
		return;
	}
	if (!capture_lock(&cap)) {
		pkt[0] = DATA_END;
		pkt[1] = 2; /* nothing to send / busy */
		sys_put_le16(0, &pkt[2]);
		notify_data(conn, pkt, 4);
		return;
	}
	downloading = true;
	ble_publish_status();

	struct data_header h = {
		.type = DATA_HEADER,
		.version = 1,
		.sample_size = sizeof(struct sample),
		.throw_id = cap.throw_id,
		.len = cap.len,
		.pull_idx = cap.pull_idx,
		.release_idx = cap.release_idx,
		.odr_hz = IMU_ACTIVE_HZ,
		.rim_radius_um = (uint32_t)(cap.rim_radius_m * 1e6f),
		.gyro_dps_per_lsb = IMU_GYRO_DPS_PER_LSB,
		.acc_g_per_lsb = IMU_ACC_G_PER_LSB,
		.hg_g_per_lsb = IMU_HG_G_PER_LSB,
	};
	err = notify_data(conn, &h, sizeof(h));

	/* Samples per packet from the negotiated ATT MTU (3 bytes notify header, 4 bytes ours). */
	uint16_t per = MIN((bt_gatt_get_mtu(conn) - 3 - 4) / sizeof(struct sample),
			   (sizeof(pkt) - 4) / sizeof(struct sample));

	per = MAX(per, 1);
	while (!err && sent < cap.len && !atomic_get(&abort_dl)) {
		uint8_t n = MIN(per, cap.len - sent);

		pkt[0] = DATA_SAMPLES;
		pkt[1] = n;
		sys_put_le16(sent, &pkt[2]);
		for (int i = 0; i < n; i++) {
			memcpy(&pkt[4 + i * sizeof(struct sample)], capture_get(sent + i),
			       sizeof(struct sample));
		}
		err = notify_data(conn, pkt, 4 + n * sizeof(struct sample));
		sent += n;
	}
	pkt[0] = DATA_END;
	pkt[1] = sent == cap.len ? 0 : 1;
	sys_put_le16(sent, &pkt[2]);
	if (!err) {
		notify_data(conn, pkt, 4);
	}
	capture_unlock();
	downloading = false;
	ble_publish_status();
	LOG_INF("download of throw %u: %u/%u samples%s", cap.throw_id, sent, cap.len,
		err ? " (link error)" : "");
}

static void download_thread(void *a, void *b, void *c)
{
	while (true) {
		k_sem_take(&dl_sem, K_FOREVER);
		struct bt_conn *conn = current ? bt_conn_ref(current) : NULL;

		if (conn) {
			send_capture(conn);
			bt_conn_unref(conn);
		}
	}
}
K_THREAD_DEFINE(dl_tid, 2048, download_thread, NULL, NULL, NULL, K_PRIO_PREEMPT(8), 0, 0);

/* ---- advertising + connection management ---- */

static const struct bt_data ad[] = {
	BT_DATA_BYTES(BT_DATA_FLAGS, (BT_LE_AD_GENERAL | BT_LE_AD_NO_BREDR)),
	BT_DATA(BT_DATA_NAME_COMPLETE, CONFIG_BT_DEVICE_NAME, sizeof(CONFIG_BT_DEVICE_NAME) - 1),
};
static const struct bt_data sd[] = {
	BT_DATA_BYTES(BT_DATA_UUID128_ALL, UUID_DISCY(1)),
};

static void adv_work_handler(struct k_work *work)
{
	/* ~0.5-0.6 s interval: findable within a second or two without costing much power. */
	int err = bt_le_adv_start(BT_LE_ADV_PARAM(BT_LE_ADV_OPT_CONN, 800, 960, NULL), ad,
				  ARRAY_SIZE(ad), sd, ARRAY_SIZE(sd));

	if (err && err != -EALREADY) {
		LOG_ERR("advertising failed (%d)", err);
	}
}
static K_WORK_DEFINE(adv_work, adv_work_handler);

/* Ask for long packets and the 2M PHY a moment after connecting, not straight away: right after
 * connecting, Android is exchanging MTU and discovering services (and often asks for the same
 * itself), and some Android stacks drop the link when these procedures overlap. */
static void link_upgrade_fn(struct k_work *w)
{
	struct bt_conn *conn = current ? bt_conn_ref(current) : NULL;

	if (!conn) {
		return;
	}
	bt_conn_le_data_len_update(conn, BT_LE_DATA_LEN_PARAM_MAX);
	bt_conn_le_phy_update(conn, BT_CONN_LE_PHY_PARAM_2M);
	bt_conn_unref(conn);
}
static K_WORK_DELAYABLE_DEFINE(link_upgrade, link_upgrade_fn);

static void connected(struct bt_conn *conn, uint8_t err)
{
	if (err) {
		return;
	}
	current = bt_conn_ref(conn);
	LOG_INF("connected");
	k_work_reschedule(&link_upgrade, K_MSEC(1500));
}

static void disconnected(struct bt_conn *conn, uint8_t reason)
{
	LOG_INF("disconnected (0x%02x)", reason);
	k_work_cancel_delayable(&link_upgrade);
	atomic_set(&abort_dl, 1);
	if (current) {
		bt_conn_unref(current);
		current = NULL;
	}
}

static void recycled(void)
{
	k_work_submit(&adv_work);
}

BT_CONN_CB_DEFINE(conn_cb) = {
	.connected = connected,
	.disconnected = disconnected,
	.recycled = recycled,
};

int ble_init(void)
{
	int err = bt_enable(NULL);

	if (err) {
		return err;
	}
	k_work_submit(&adv_work);
	return 0;
}
```

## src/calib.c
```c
/*
 * Per-board calibration kept across reboots, battery swaps and firmware updates: a small ZMS
 * store in the "storage" partition (MCUboot updates never touch it).
 *
 * Holds the gyro cross-axis coupling learned from throws (struct xz_learn). Saving happens on
 * the system work queue, never on the 960 Hz sampler thread.
 */
#include <zephyr/drivers/flash.h>
#include <zephyr/fs/zms.h>
#include <zephyr/kernel.h>
#include <zephyr/logging/log.h>
#include <zephyr/storage/flash_map.h>

#include "discy.h"

LOG_MODULE_REGISTER(calib, LOG_LEVEL_INF);

#define ID_GYRO_XZ 1

/* Stored layout; bump .ver if it changes (an unknown version is ignored, i.e. relearned). */
struct gyro_xz_rec {
	uint8_t ver;
	uint8_t pad;
	uint16_t n;
	float k[2];
};
#define GYRO_XZ_VER 1

static struct zms_fs fs;
static bool mounted;

static int mount(void)
{
	if (mounted) {
		return 0;
	}
	struct flash_pages_info info;

	fs.flash_device = FIXED_PARTITION_DEVICE(storage_partition);
	if (!device_is_ready(fs.flash_device)) {
		return -ENODEV;
	}
	fs.offset = FIXED_PARTITION_OFFSET(storage_partition);
	int err = flash_get_page_info_by_offs(fs.flash_device, fs.offset, &info);

	if (err) {
		return err;
	}
	fs.sector_size = info.size;
	fs.sector_count = FIXED_PARTITION_SIZE(storage_partition) / info.size;
	err = zms_mount(&fs);
	if (err) {
		return err;
	}
	mounted = true;
	return 0;
}

int calib_load_xz(struct xz_learn *l)
{
	struct gyro_xz_rec rec;
	int err = mount();

	if (err) {
		LOG_ERR("calibration store unavailable (%d)", err);
		return err;
	}
	ssize_t len = zms_read(&fs, ID_GYRO_XZ, &rec, sizeof(rec));

	if (len != sizeof(rec) || rec.ver != GYRO_XZ_VER) {
		LOG_INF("no gyro cross-axis calibration yet: learning it from throws");
		return -ENOENT;
	}
	l->k[0] = rec.k[0];
	l->k[1] = rec.k[1];
	l->n = rec.n;
	LOG_INF("gyro cross-axis %d/%d (x1e-4) from %u throws", (int)(rec.k[0] * 1e4f),
		(int)(rec.k[1] * 1e4f), rec.n);
	return 0;
}

static struct gyro_xz_rec pending;
static struct k_spinlock pending_lock;

static void save_work_fn(struct k_work *w)
{
	struct gyro_xz_rec rec;
	K_SPINLOCK(&pending_lock) {
		rec = pending;
	}
	if (mount() == 0) {
		ssize_t r = zms_write(&fs, ID_GYRO_XZ, &rec, sizeof(rec));

		if (r < 0) {
			LOG_ERR("saving gyro calibration failed (%d)", (int)r);
		}
	}
}
static K_WORK_DEFINE(save_work, save_work_fn);

void calib_save_xz(const struct xz_learn *l)
{
	K_SPINLOCK(&pending_lock) {
		pending = (struct gyro_xz_rec){.ver = GYRO_XZ_VER, .n = l->n, .k = {l->k[0], l->k[1]}};
	}
	k_work_submit(&save_work);
}
```

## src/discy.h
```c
/* Shared types: capture buffer and throw result. */
#pragma once
#include <stdbool.h>
#include <stdint.h>
#include "imu.h"

/* One time step from both IMUs (30 bytes, also the on-air format of a raw sample). */
struct sample {
	int16_t gyro[3];   /* centre IMU */
	int16_t acc[3];    /* centre IMU, low-g */
	int16_t hg[3];     /* centre IMU, high-g */
	int16_t r_acc[3];  /* rim IMU (r = 9 mm), low-g */
	int16_t r_hg[3];   /* rim IMU, high-g */
} __packed;

/* Capture window around a throw: 2.5 s before release (to find a still moment for the
 * gravity reference and cover the reach-back), 0.5 s after. 2880 * 30 B = 86 KB. */
#define CAPTURE_PRE   (IMU_ACTIVE_HZ * 5 / 2)
#define CAPTURE_POST  (IMU_ACTIVE_HZ / 2)
#define CAPTURE_LEN   (CAPTURE_PRE + CAPTURE_POST)

/* A frozen capture, read in chronological order through capture_get(). */
struct capture_view {
	uint32_t throw_id;
	uint16_t len;          /* samples available (may be < CAPTURE_LEN right after boot) */
	uint16_t pull_idx;     /* first sample of the pull (centre accel > PULL_G) */
	uint16_t release_idx;  /* first sample after release */
	float rim_radius_m;
	/* Gyro cross-axis coupling: how much of the true z (spin) rate the gyro reports on x and y.
	 * Subtracted before use. Learned from throws (struct xz_learn), 0 until then. */
	float gyro_xz[2];
};

const struct sample *capture_get(uint16_t i);

#define RESULT_ANGLES_VALID  BIT(0)  /* found a still moment before the throw */
#define RESULT_SPEED_VALID   BIT(1)
#define RESULT_SPIN_CENTRIP  BIT(2)  /* gyro saturated; spin from rim-centre accel difference */
#define RESULT_LANDED        BIT(3)  /* flight_ms measured to an impact / stop, not a timeout */
#define RESULT_REF_APPROX    BIT(4)  /* no truly still moment: reference is the calmest 100 ms, so
				      * speed and angles are approximate */
#define RESULT_NO_REF        BIT(5)  /* why speed / angles are missing: nothing calm enough before the pull */
#define RESULT_BAD_SPEED     BIT(6)  /* why speed / angles are missing: integrated velocity implausible */

/* Throw summary, sent as-is over BLE (little-endian). */
struct throw_result {
	uint32_t throw_id;
	uint16_t flags;
	int16_t spin_rpm;       /* + = counter-clockwise seen from the top of the board */
	uint16_t speed_cms;     /* release speed, cm/s */
	int16_t hyzer_cdeg;     /* disc roll about the flight direction, + = right edge down */
	int16_t nose_cdeg;      /* disc pitch relative to horizontal, + = nose up */
	int16_t launch_cdeg;    /* velocity angle above horizontal */
	uint16_t wobble_dps;    /* RMS off-axis rotation in the 0.5 s after release */
	uint16_t peak_dg;       /* peak centre acceleration during the pull, 0.1 g */
	uint16_t pull_ms;
	uint16_t flight_ms;
	uint16_t battery_mv;
} __packed;

void analysis_run(const struct capture_view *cap, struct throw_result *out);

/* This throw's estimate of the gyro cross-axis coupling (see capture_view.gyro_xz), from the
 * free spin between release and impact. False when that was too short to tell (under ~1 turn). */
bool analysis_gyro_xz(const struct capture_view *cap, float k[2]);

/* Running estimate of the coupling over many throws: a mean that turns into a slow moving
 * average, ignoring throws far off the current value once it has settled. */
struct xz_learn {
	float k[2];
	uint16_t n;
};
#define XZ_LEARN_MIN 3  /* throws before the estimate is used */
void xz_learn_add(struct xz_learn *l, const float k[2]);
bool xz_learn_ready(const struct xz_learn *l);

/* Spin rate in dps about the board z axis for one sample: gyro, or centripetal estimate
 * from the rim IMU when the gyro is saturated. *centrip is set when the estimate was used. */
float sample_spin_dps(const struct sample *s, float rim_radius_m, bool *centrip);
/* Centre acceleration vector in g, switching to the high-g channel when low-g clips. */
void sample_centre_acc_g(const struct sample *s, float out[3]);

/* capture.c */
enum capture_state {
	CAP_IDLE,     /* low-power, waiting for motion */
	CAP_ARMED,    /* 960 Hz, ring buffer running, waiting for a pull */
	CAP_PULL,     /* pull detected, waiting for release */
	CAP_POST,     /* recording the post-release window */
	CAP_FLIGHT,   /* capture frozen, timing the flight */
};
int capture_start(void);
/* Freeze/unfreeze the capture buffer (while a download is running). Returns false if
 * there is no capture to lock. */
bool capture_lock(struct capture_view *view);
void capture_unlock(void);
enum capture_state capture_state(void);
uint32_t capture_throw_count(void);

/* ble.c */
extern const char discy_fw_version[];  /* "0.2.0+<git commit>" */
int ble_init(void);
void ble_publish_result(const struct throw_result *r);
void ble_publish_status(void);

/* calib.c: per-board calibration in flash */
int calib_load_xz(struct xz_learn *l);
void calib_save_xz(const struct xz_learn *l);

/* battery.c */
int battery_init(void);
uint16_t battery_mv(void);

/* led.c */
int led_init(void);
void led_blink(int count);
```

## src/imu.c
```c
#include "imu.h"

#include <zephyr/kernel.h>
#include <zephyr/logging/log.h>
#include <zephyr/sys/byteorder.h>

LOG_MODULE_REGISTER(imu, LOG_LEVEL_INF);

/* Register map: LSM6DSV320X datasheet DS14623 rev 3, section 8 */
#define REG_INT1_CTRL     0x0D
#define REG_WHO_AM_I      0x0F
#define REG_CTRL1         0x10  /* accel op mode [6:4], ODR [3:0] */
#define REG_CTRL2         0x11  /* gyro op mode [6:4], ODR [3:0] */
#define REG_CTRL3         0x12  /* BOOT, BDU, IF_INC, SW_RESET */
#define REG_CTRL4         0x13  /* DRDY_PULSED = bit 1 */
#define REG_CTRL6         0x15  /* gyro FS [2:0], bit 3 must be 1 */
#define REG_CTRL8         0x17  /* accel FS [1:0] */
#define REG_OUTX_L_G      0x22  /* gyro 22-27, accel 28-2D, OIS 2E-33, high-g 34-39 */
#define REG_CTRL1_XL_HG   0x4E  /* REGOUT_EN bit 7, ODR [5:3], FS [2:0] */

#define WHO_AM_I_VAL      0x73

#define CTRL3_BDU         BIT(6)
#define CTRL3_IF_INC      BIT(2)
#define CTRL3_SW_RESET    BIT(0)
#define CTRL4_DRDY_PULSED BIT(1)
#define INT1_DRDY_XL      BIT(0)

#define ODR_30HZ          0x4
#define ODR_960HZ         0x9
#define OPMODE_HP         (0x0 << 4)
#define OPMODE_LP1        (0x4 << 4)
#define GYRO_FS_4000      (0x08 | 0x5)
#define ACC_FS_16G        0x3
#define HG_REGOUT_EN      BIT(7)
#define HG_ODR_960HZ      (0x4 << 3)
#define HG_FS_320G        0x4

static int write_reg(const struct imu *imu, uint8_t reg, uint8_t val)
{
	uint8_t buf[2] = {reg & 0x7F, val};
	const struct spi_buf tx = {.buf = buf, .len = sizeof(buf)};
	const struct spi_buf_set txs = {.buffers = &tx, .count = 1};

	return spi_write_dt(&imu->spi, &txs);
}

static int read_regs(const struct imu *imu, uint8_t reg, uint8_t *data, size_t len)
{
	uint8_t addr = reg | 0x80;
	const struct spi_buf tx = {.buf = &addr, .len = 1};
	const struct spi_buf_set txs = {.buffers = &tx, .count = 1};
	const struct spi_buf rx[2] = {{.buf = NULL, .len = 1}, {.buf = data, .len = len}};
	const struct spi_buf_set rxs = {.buffers = rx, .count = 2};

	return spi_transceive_dt(&imu->spi, &txs, &rxs);
}

int imu_init(const struct imu *imu)
{
	uint8_t id = 0;
	int err;

	if (!spi_is_ready_dt(&imu->spi) || !gpio_is_ready_dt(&imu->int1)) {
		return -ENODEV;
	}
	err = read_regs(imu, REG_WHO_AM_I, &id, 1);
	if (err) {
		return err;
	}
	if (id != WHO_AM_I_VAL) {
		LOG_ERR("%s: WHO_AM_I 0x%02x, expected 0x%02x", imu->name, id, WHO_AM_I_VAL);
		return -EIO;
	}

	write_reg(imu, REG_CTRL3, CTRL3_SW_RESET);
	k_msleep(5);
	err = write_reg(imu, REG_CTRL3, CTRL3_BDU | CTRL3_IF_INC);
	/* Full scales must be set while the sensors are powered down (gyro FS default is reserved). */
	err |= write_reg(imu, REG_CTRL6, GYRO_FS_4000);
	err |= write_reg(imu, REG_CTRL8, ACC_FS_16G);
	err |= write_reg(imu, REG_CTRL4, CTRL4_DRDY_PULSED);
	if (err) {
		return -EIO;
	}
	return gpio_pin_configure_dt(&imu->int1, GPIO_INPUT);
}

int imu_set_mode(const struct imu *imu, enum imu_mode mode, bool with_gyro)
{
	int err = 0;

	/* Power everything down first: high-g needs the low-g accel in high-performance mode,
	 * so the order of the writes below matters. */
	err |= write_reg(imu, REG_CTRL1_XL_HG, 0);
	err |= write_reg(imu, REG_CTRL2, 0);
	err |= write_reg(imu, REG_CTRL1, 0);

	switch (mode) {
	case IMU_MODE_OFF:
		break;
	case IMU_MODE_IDLE:
		err |= write_reg(imu, REG_CTRL1, OPMODE_LP1 | ODR_30HZ);
		break;
	case IMU_MODE_ACTIVE:
		err |= write_reg(imu, REG_CTRL1, OPMODE_HP | ODR_960HZ);
		if (with_gyro) {
			err |= write_reg(imu, REG_CTRL2, OPMODE_HP | ODR_960HZ);
		}
		err |= write_reg(imu, REG_CTRL1_XL_HG, HG_REGOUT_EN | HG_ODR_960HZ | HG_FS_320G);
		break;
	}
	return err ? -EIO : 0;
}

int imu_enable_drdy(const struct imu *imu)
{
	return write_reg(imu, REG_INT1_CTRL, INT1_DRDY_XL);
}

int imu_read(const struct imu *imu, struct imu_raw *out)
{
	/* One burst 0x22..0x39: gyro, accel, OIS (ignored), high-g. All little-endian int16. */
	uint8_t b[24];
	int err = read_regs(imu, REG_OUTX_L_G, b, sizeof(b));

	if (err) {
		return err;
	}
	for (int i = 0; i < 3; i++) {
		out->gyro[i] = (int16_t)sys_get_le16(&b[0 + 2 * i]);
		out->acc[i] = (int16_t)sys_get_le16(&b[6 + 2 * i]);
		out->hg[i] = (int16_t)sys_get_le16(&b[18 + 2 * i]);
	}
	return 0;
}
```

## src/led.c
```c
/* Status LED: non-blocking blink patterns. */
#include <zephyr/drivers/gpio.h>
#include <zephyr/kernel.h>

#include "discy.h"

static const struct gpio_dt_spec led = GPIO_DT_SPEC_GET(DT_ALIAS(led0), gpios);
static atomic_t remaining;  /* half-periods left */

static void led_work_handler(struct k_work *work);
static K_WORK_DELAYABLE_DEFINE(led_work, led_work_handler);

static void led_work_handler(struct k_work *work)
{
	int left = atomic_dec(&remaining);

	if (left <= 0) {
		atomic_set(&remaining, 0);
		gpio_pin_set_dt(&led, 0);
		return;
	}
	gpio_pin_set_dt(&led, left % 2 == 0);  /* starts on, ends off */
	k_work_schedule(&led_work, K_MSEC(120));
}

void led_blink(int count)
{
	atomic_set(&remaining, count * 2);
	k_work_reschedule(&led_work, K_NO_WAIT);
}

int led_init(void)
{
	if (!gpio_is_ready_dt(&led)) {
		return -ENODEV;
	}
	return gpio_pin_configure_dt(&led, GPIO_OUTPUT_INACTIVE);
}
```
